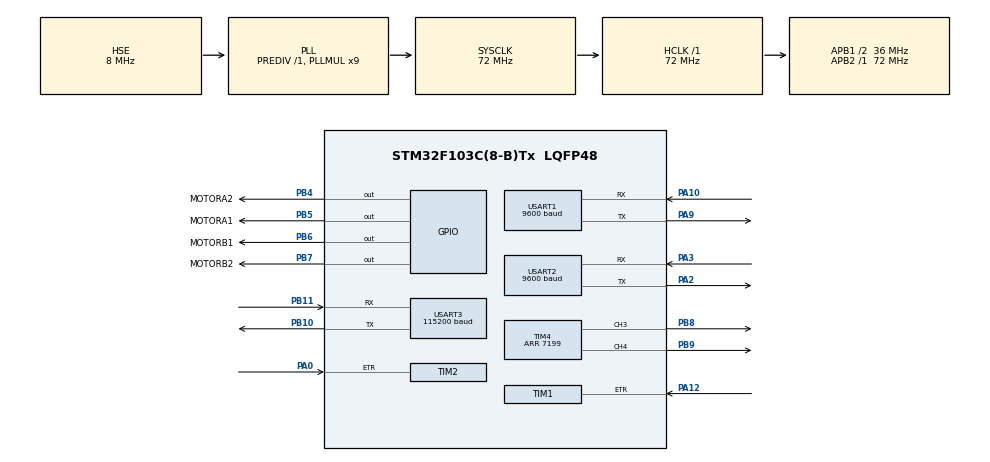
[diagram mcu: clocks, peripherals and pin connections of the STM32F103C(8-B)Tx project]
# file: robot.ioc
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Dma.Request0=USART2_RX
Dma.Request1=USART2_TX
Dma.Request2=USART1_RX
Dma.Request3=USART1_TX
Dma.USART1_RX.2.Direction=DMA_PERIPH_TO_MEMORY
Dma.USART1_RX.2.Instance=DMA1_Channel5
Dma.USART1_RX.2.MemDataAlignment=DMA_MDATAALIGN_BYTE
Dma.USART1_RX.2.MemInc=DMA_MINC_ENABLE
Dma.USART1_RX.2.Mode=DMA_NORMAL
Dma.USART1_RX.2.PeriphDataAlignment=DMA_PDATAALIGN_BYTE
Dma.USART1_RX.2.PeriphInc=DMA_PINC_DISABLE
Dma.USART1_RX.2.Priority=DMA_PRIORITY_LOW
Dma.USART1_TX.3.Direction=DMA_MEMORY_TO_PERIPH
Dma.USART1_TX.3.Instance=DMA1_Channel4
Dma.USART1_TX.3.MemDataAlignment=DMA_MDATAALIGN_BYTE
Dma.USART1_TX.3.MemInc=DMA_MINC_ENABLE
Dma.USART1_TX.3.Mode=DMA_NORMAL
Dma.USART1_TX.3.PeriphDataAlignment=DMA_PDATAALIGN_BYTE
Dma.USART1_TX.3.PeriphInc=DMA_PINC_DISABLE
Dma.USART1_TX.3.Priority=DMA_PRIORITY_LOW
Dma.USART2_RX.0.Direction=DMA_PERIPH_TO_MEMORY
Dma.USART2_RX.0.Instance=DMA1_Channel6
Dma.USART2_RX.0.MemDataAlignment=DMA_MDATAALIGN_BYTE
Dma.USART2_RX.0.MemInc=DMA_MINC_ENABLE
Dma.USART2_RX.0.Mode=DMA_NORMAL
Dma.USART2_RX.0.PeriphDataAlignment=DMA_PDATAALIGN_BYTE
Dma.USART2_RX.0.PeriphInc=DMA_PINC_DISABLE
Dma.USART2_RX.0.Priority=DMA_PRIORITY_LOW
Dma.USART2_TX.1.Direction=DMA_MEMORY_TO_PERIPH
Dma.USART2_TX.1.Instance=DMA1_Channel7
Dma.USART2_TX.1.MemDataAlignment=DMA_MDATAALIGN_BYTE
Dma.USART2_TX.1.MemInc=DMA_MINC_ENABLE
Dma.USART2_TX.1.Mode=DMA_NORMAL
Dma.USART2_TX.1.PeriphDataAlignment=DMA_PDATAALIGN_BYTE
Dma.USART2_TX.1.PeriphInc=DMA_PINC_DISABLE
Dma.USART2_TX.1.Priority=DMA_PRIORITY_LOW
Mcu.Family=STM32F1
Mcu.Name=STM32F103C(8-B)Tx
Mcu.Package=LQFP48
NVIC.DMA1_Channel4_IRQn=true\:0\:0\:false\:false\:true\:false
NVIC.DMA1_Channel5_IRQn=true\:0\:0\:false\:false\:true\:false
NVIC.DMA1_Channel6_IRQn=true\:0\:0\:false\:false\:true\:false
NVIC.DMA1_Channel7_IRQn=true\:0\:0\:false\:false\:true\:false
NVIC.PriorityGroup=NVIC_PRIORITYGROUP_4
NVIC.TIM1_BRK_IRQn=true\:0\:0\:false\:false\:true\:true
NVIC.TIM1_CC_IRQn=true\:0\:0\:false\:false\:true\:true
NVIC.TIM1_TRG_COM_IRQn=true\:0\:0\:false\:false\:true\:true
NVIC.TIM1_UP_IRQn=true\:0\:0\:false\:false\:true\:true
NVIC.TIM2_IRQn=true\:0\:0\:false\:false\:true\:true
NVIC.TIM3_IRQn=true\:0\:0\:false\:false\:true\:true
NVIC.USART1_IRQn=true\:0\:0\:false\:false\:true\:true
NVIC.USART2_IRQn=true\:0\:0\:false\:false\:true\:true
NVIC.USART3_IRQn=true\:0\:0\:false\:false\:true\:true
PA0-WKUP.Signal=S_TIM2_CH1_ETR
PA10.Mode=Asynchronous
PA10.Signal=USART1_RX
PA12.Signal=S_TIM1_ETR
PA13.Mode=Trace_Asynchronous_SW
PA13.Signal=SYS_JTMS-SWDIO
PA14.Mode=Trace_Asynchronous_SW
PA14.Signal=SYS_JTCK-SWCLK
PA2.Mode=Asynchronous
PA2.Signal=USART2_TX
PA3.Mode=Asynchronous
PA3.Signal=USART2_RX
PA9.Mode=Asynchronous
PA9.Signal=USART1_TX
PB10.Mode=Asynchronous
PB10.Signal=USART3_TX
PB11.Mode=Asynchronous
PB11.Signal=USART3_RX
PB3.Mode=Trace_Asynchronous_SW
PB3.Signal=SYS_JTDO-TRACESWO
PB4.GPIO_Label=MOTORA2
PB4.GPIO_Speed=GPIO_SPEED_FREQ_HIGH
PB4.Signal=GPIO_Output
PB5.GPIO_Label=MOTORA1
PB5.GPIO_Speed=GPIO_SPEED_FREQ_HIGH
PB5.Signal=GPIO_Output
PB6.GPIO_Label=MOTORB1
PB6.GPIO_Speed=GPIO_SPEED_FREQ_HIGH
PB6.Signal=GPIO_Output
PB7.GPIO_Label=MOTORB2
PB7.GPIO_Speed=GPIO_SPEED_FREQ_HIGH
PB7.Signal=GPIO_Output
PB8.Signal=S_TIM4_CH3
PB9.Signal=S_TIM4_CH4
PD0-OSC_IN.Mode=HSE-External-Oscillator
PD0-OSC_IN.Signal=RCC_OSC_IN
PD1-OSC_OUT.Mode=HSE-External-Oscillator
PD1-OSC_OUT.Signal=RCC_OSC_OUT
ProjectManager.HeapSize=0x200
ProjectManager.StackSize=0x400
ProjectManager.TargetToolchain=MDK-ARM V5
RCC.AHBFreq_Value=72000000
RCC.APB1CLKDivider=RCC_HCLK_DIV2
RCC.APB1Freq_Value=36000000
RCC.APB1TimFreq_Value=72000000
RCC.APB2Freq_Value=72000000
RCC.APB2TimFreq_Value=72000000
RCC.HCLKFreq_Value=72000000
RCC.PLLMUL=RCC_PLL_MUL9
RCC.PLLSourceVirtual=RCC_PLLSOURCE_HSE
RCC.SYSCLKFreq_VALUE=72000000
RCC.SYSCLKSource=RCC_SYSCLKSOURCE_PLLCLK
RCC.USBFreq_Value=72000000
SH.S_TIM1_ETR.0=TIM1_ETR,ClockSourceETR_Mode2
SH.S_TIM2_CH1_ETR.0=TIM2_ETR,ClockSourceETR_Mode2
SH.S_TIM4_CH3.0=TIM4_CH3,PWM Generation3 CH3
SH.S_TIM4_CH4.0=TIM4_CH4,PWM Generation4 CH4
TIM1.Period=65535
TIM2.Period=65535
TIM3.Period=65535
TIM4.Channel-PWM\ Generation3\ CH3=TIM_CHANNEL_3
TIM4.Channel-PWM\ Generation4\ CH4=TIM_CHANNEL_4
TIM4.Period=7199
USART1.BaudRate=9600
USART1.VirtualMode=VM_ASYNC
USART2.BaudRate=9600
USART2.VirtualMode=VM_ASYNC
USART3.BaudRate=115200
USART3.VirtualMode=VM_ASYNC
VP_TIM3_VS_ClockSourceINT.Mode=Internal
board=robot

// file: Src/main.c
/* USER CODE BEGIN Header */
/**
  ******************************************************************************
  * @file           : main.c
  * @brief          : Main program body
  ******************************************************************************
  ** This notice applies to any and all portions of this file
  * that are not between comment pairs USER CODE BEGIN and
  * USER CODE END. Other portions of this file, whether
  * inserted by the user or by software development tools
  * are owned by their respective copyright owners.
  *
  * COPYRIGHT(c) 2019 STMicroelectronics
  *
  * Redistribution and use in source and binary forms, with or without modification,
  * are permitted provided that the following conditions are met:
  *   1. Redistributions of source code must retain the above copyright notice,
  *      this list of conditions and the following disclaimer.
  *   2. Redistributions in binary form must reproduce the above copyright notice,
  *      this list of conditions and the following disclaimer in the documentation
  *      and/or other materials provided with the distribution.
  *   3. Neither the name of STMicroelectronics nor the names of its contributors
  *      may be used to endorse or promote products derived from this software
  *      without specific prior written permission.
  *
  * THIS SOFTWARE IS PROVIDED BY THE COPYRIGHT HOLDERS AND CONTRIBUTORS "AS IS"
  * AND ANY EXPRESS OR IMPLIED WARRANTIES, INCLUDING, BUT NOT LIMITED TO, THE
  * IMPLIED WARRANTIES OF MERCHANTABILITY AND FITNESS FOR A PARTICULAR PURPOSE ARE
  * DISCLAIMED. IN NO EVENT SHALL THE COPYRIGHT HOLDER OR CONTRIBUTORS BE LIABLE
  * FOR ANY DIRECT, INDIRECT, INCIDENTAL, SPECIAL, EXEMPLARY, OR CONSEQUENTIAL
  * DAMAGES (INCLUDING, BUT NOT LIMITED TO, PROCUREMENT OF SUBSTITUTE GOODS OR
  * SERVICES; LOSS OF USE, DATA, OR PROFITS; OR BUSINESS INTERRUPTION) HOWEVER
  * CAUSED AND ON ANY THEORY OF LIABILITY, WHETHER IN CONTRACT, STRICT LIABILITY,
  * OR TORT (INCLUDING NEGLIGENCE OR OTHERWISE) ARISING IN ANY WAY OUT OF THE USE
  * OF THIS SOFTWARE, EVEN IF ADVISED OF THE POSSIBILITY OF SUCH DAMAGE.
  *
  ******************************************************************************
  */
/* USER CODE END Header */

#include "main.h"
#include "dma.h"
#include "tim.h"
#include "usart.h"
#include "gpio.h"

/* USER CODE BEGIN Includes */
#include "../modules/gyro/gyro.h"
#include "../modules/scheduler/scheduler.h"
#include "../modules/datalink/datalink.h"
#include "../modules/encoder/encoder.h"
#include "../modules/control_velocity/control_velocity.h"
#include "../modules/auto_disarming/auto_disarming.h"
/* USER CODE END Includes */

/* USER CODE BEGIN PV */
/* Private variables ---------------------------------------------------------*/

struct  task _task[5] =
{
	SCHED_TASK_CLASS(encoder_main,		  				100,				50),
	SCHED_TASK_CLASS(gyro_main,									50,					50),
	SCHED_TASK_CLASS(datalink_main,		  				10,					50),
	SCHED_TASK_CLASS(control_velocity_main,		  100,				50),
	SCHED_TASK_CLASS(auto_disarming_main,			  1,					50)
};

static const uint8_t _task_num = 5;

/* USER CODE END PV */

void SystemClock_Config(void);
/* USER CODE BEGIN PFP */
/* Private function prototypes -----------------------------------------------*/
void setup();
/* USER CODE END PFP */

int main(void)
{

  /* MCU Configuration--------------------------------------------------------*/

  /* Reset of all peripherals, Initializes the Flash interface and the Systick. */
  HAL_Init();

  /* USER CODE BEGIN Init */
	HAL_TIM_Base_Start_IT(&htim3);
	__HAL_TIM_DISABLE(&htim3);
	__HAL_TIM_SET_COUNTER(&htim3,0);
  /* USER CODE END Init */

  /* Configure the system clock */
  SystemClock_Config();

  /* Initialize all configured peripherals */
  MX_GPIO_Init();
  MX_DMA_Init();
  MX_TIM4_Init();
  MX_USART1_UART_Init();
  MX_USART2_UART_Init();
  MX_TIM2_Init();
  MX_TIM1_Init();
  MX_USART3_UART_Init();
  MX_TIM3_Init();
  /* USER CODE BEGIN 2 */
	setup();
  /* USER CODE END 2 */

  /* Infinite loop */
  /* USER CODE BEGIN WHILE */
  while (1)
  {
		scheduler_run();
    /* USER CODE END WHILE */

  }
}

void SystemClock_Config(void)
{
  RCC_OscInitTypeDef RCC_OscInitStruct = {0};
  RCC_ClkInitTypeDef RCC_ClkInitStruct = {0};

  /**Initializes the CPU, AHB and APB busses clocks
  */
  RCC_OscInitStruct.OscillatorType = RCC_OSCILLATORTYPE_HSE;
  RCC_OscInitStruct.HSEState = RCC_HSE_ON;
  RCC_OscInitStruct.HSEPredivValue = RCC_HSE_PREDIV_DIV1;
  RCC_OscInitStruct.HSIState = RCC_HSI_ON;
  RCC_OscInitStruct.PLL.PLLState = RCC_PLL_ON;
  RCC_OscInitStruct.PLL.PLLSource = RCC_PLLSOURCE_HSE;
  RCC_OscInitStruct.PLL.PLLMUL = RCC_PLL_MUL9;
  if (HAL_RCC_OscConfig(&RCC_OscInitStruct) != HAL_OK)
  {
    Error_Handler();
  }
  /**Initializes the CPU, AHB and APB busses clocks
  */
  RCC_ClkInitStruct.ClockType = RCC_CLOCKTYPE_HCLK|RCC_CLOCKTYPE_SYSCLK
                              |RCC_CLOCKTYPE_PCLK1|RCC_CLOCKTYPE_PCLK2;
  RCC_ClkInitStruct.SYSCLKSource = RCC_SYSCLKSOURCE_PLLCLK;
  RCC_ClkInitStruct.AHBCLKDivider = RCC_SYSCLK_DIV1;
  RCC_ClkInitStruct.APB1CLKDivider = RCC_HCLK_DIV2;
  RCC_ClkInitStruct.APB2CLKDivider = RCC_HCLK_DIV1;

  if (HAL_RCC_ClockConfig(&RCC_ClkInitStruct, FLASH_LATENCY_2) != HAL_OK)
  {
    Error_Handler();
  }
}

/* USER CODE BEGIN 4 */

void setup()
{
	HAL_Delay(500);
	initialize_scheduler(_task, _task_num);
	initialize_motors();
	initialize_encoder();
	initlialze_datalink();
//	initialize_gyro();
}

/* USER CODE END 4 */

void Error_Handler(void)
{
  while(1)
  {
  }
}

/************************ (C) COPYRIGHT STMicroelectronics *****END OF FILE****/
